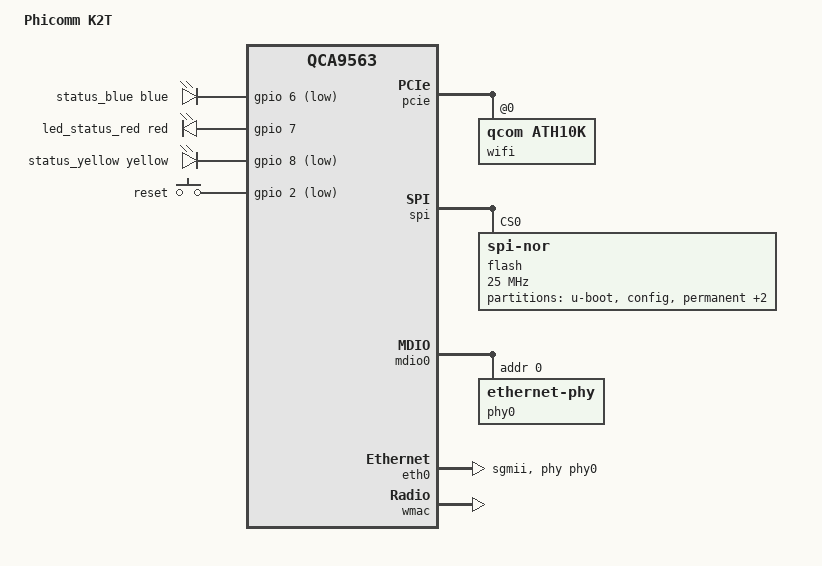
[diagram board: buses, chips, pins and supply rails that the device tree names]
// SPDX-License-Identifier: GPL-2.0-or-later OR MIT

#include "qca956x.dtsi"

#include <dt-bindings/gpio/gpio.h>
#include <dt-bindings/input/input.h>
#include <dt-bindings/leds/common.h>

/ {
	model = "Phicomm K2T";
	compatible = "phicomm,k2t", "qca,qca9563";

	aliases {
		led-boot = &led_status_red;
		led-failsafe = &led_status_red;
		led-running = &led_status_red;
		led-upgrade = &led_status_red;
	};

	leds {
		compatible = "gpio-leds";

		status_blue {
			function = LED_FUNCTION_STATUS;
			color = <LED_COLOR_ID_BLUE>;
			gpios = <&gpio 6 GPIO_ACTIVE_LOW>;
		};

		led_status_red: status_red {
			function = LED_FUNCTION_STATUS;
			color = <LED_COLOR_ID_RED>;
			gpios = <&gpio 7 GPIO_ACTIVE_HIGH>;
		};

		status_yellow {
			function = LED_FUNCTION_STATUS;
			color = <LED_COLOR_ID_YELLOW>;
			gpios = <&gpio 8 GPIO_ACTIVE_LOW>;
		};
	};

	keys {
		compatible = "gpio-keys";

		reset {
			linux,code = <KEY_RESTART>;
			gpios = <&gpio 2 GPIO_ACTIVE_LOW>;
			debounce-interval = <60>;
		};
	};
};

&pcie {
	status = "okay";

	wifi@0,0 {
		compatible = "qcom,ath10k";
		reg = <0x0000 0 0 0 0>;
		nvmem-cells = <&precal_art_5000>;
		nvmem-cell-names = "pre-calibration";
	};
};

&spi {
	status = "okay";

	flash@0 {
		compatible = "jedec,spi-nor";
		reg = <0>;
		spi-max-frequency = <25000000>;

		partitions {
			compatible = "fixed-partitions";
			#address-cells = <1>;
			#size-cells = <1>;

			partition@0 {
				label = "u-boot";
				reg = <0x000000 0x30000>;
				read-only;
			};

			partition@30000 {
				label = "config";
				reg = <0x030000 0x10000>;
				read-only;
			};

			partition@40000 {
				label = "permanent";
				reg = <0x040000 0x50000>;
				read-only;
			};

			partition@90000 {
				compatible = "denx,uimage";
				label = "firmware";
				reg = <0x090000 0xf60000>;
			};

			partition@ff0000 {
				label = "art";
				reg = <0xff0000 0x010000>;
				read-only;

				nvmem-layout {
					compatible = "fixed-layout";
					#address-cells = <1>;
					#size-cells = <1>;

					cal_art_1000: calibration@1000 {
						reg = <0x1000 0x440>;
					};

					precal_art_5000: pre-calibration@5000 {
						reg = <0x5000 0x2f20>;
					};
				};
			};
		};
	};
};

&mdio0 {
	status = "okay";

	phy0: ethernet-phy@0 {
		reg = <0>;
		phy-mode = "sgmii";

		qca,ar8327-initvals = <
			0x04 0x00080080 /* PORT0 PAD MODE CTRL */
			0x10 0x81000080 /* POWER_ON_STRAP */
			0x50 0xcc35cc35 /* LED_CTRL0 */
			0x54 0xcb37cb37 /* LED_CTRL1 */
			0x58 0x00000000 /* LED_CTRL2 */
			0x5c 0x00f3cf00 /* LED_CTRL3 */
			0x7c 0x0000007e /* PORT0_STATUS */
			>;
	};
};

&eth0 {
	status = "okay";

	pll-data = <0x03000101 0x00000101 0x00001919>;

	phy-mode = "sgmii";
	phy-handle = <&phy0>;
};

&wmac {
	status = "okay";

	nvmem-cells = <&cal_art_1000>;
	nvmem-cell-names = "calibration";
};
